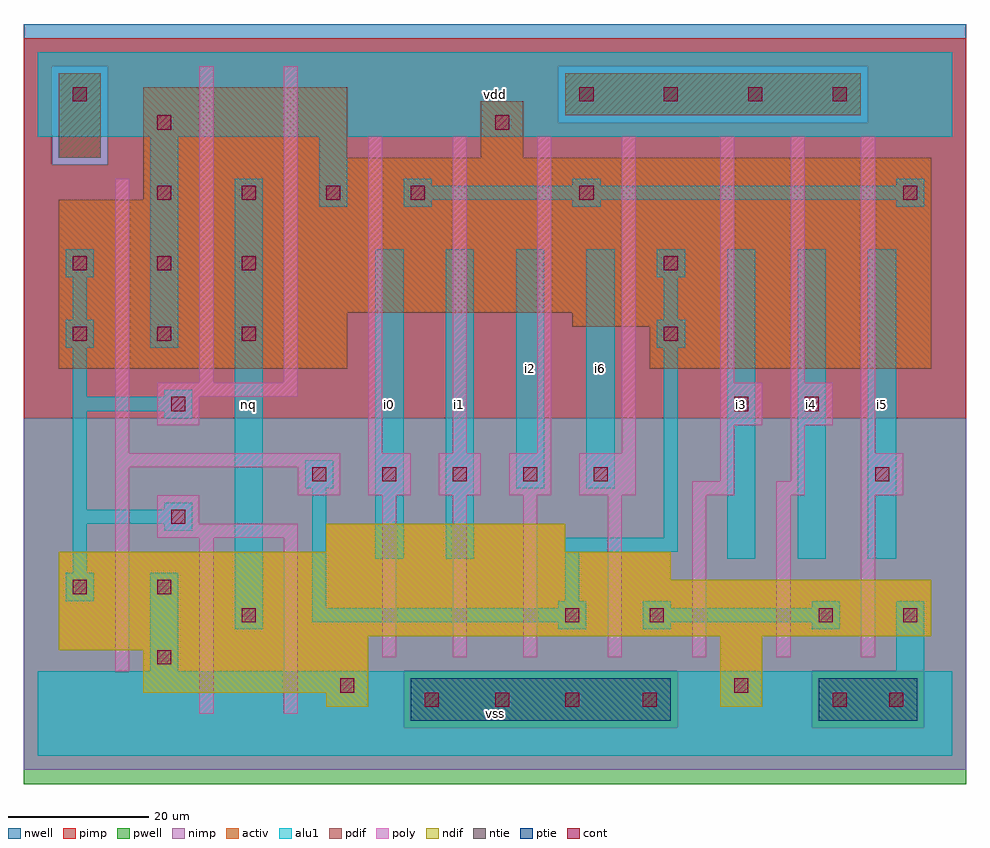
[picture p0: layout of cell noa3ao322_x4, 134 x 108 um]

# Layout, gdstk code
import gdstk
lib = gdstk.Library(unit=1e-6, precision=1e-09)
def R(c, l, rs):  # rectangles x0, y0, x1, y1
    for r in rs: c.add(gdstk.rectangle(r[:2], r[2:], *l))
def A(c, l, x, y, w, h, nx, ny, dx, dy):  # array of equal rectangles
    R(c, l, [(x+i*dx, y+j*dy, x+i*dx+w, y+j*dy+h) for i in range(nx) for j in range(ny)])
ndif = (3, 0)
pdif = (4, 0)
ntie = (5, 0)
ptie = (6, 0)
cont = (25, 0)
pwell = (41, 0)
nwell = (42, 0)
activ = (43, 0)
pimp = (44, 0)
nimp = (45, 0)
poly = (46, 0)
alu1 = (49, 0)

noa3ao322_x4 = lib.new_cell('noa3ao322_x4')
R(noa3ao322_x4, ndif, [(41,7,47,9), (97,7,103,17), (15,9,47,15), (3,15,47,17), (3,17,127,25), (3,25,90,29), (41,29,75,33)])
R(noa3ao322_x4, pdif, [(3,55,44,63), (87,55,127,61), (76,61,127,63), (3,63,127,79), (15,79,127,85), (15,85,44,95), (63,85,69,93)])
R(noa3ao322_x4, ntie, [(3,85,9,97), (75,91,117,97)])
R(noa3ao322_x4, ptie, [(53,5,90,11), (111,5,125,11)])
A(noa3ao322_x4, cont, 55, 7, 2, 2, 3, 1, 10, 0)
A(noa3ao322_x4, cont, 39, 39, 2, 2, 5, 1, 10, 0)
A(noa3ao322_x4, cont, 5, 59, 2, 2, 3, 2, 12, 10)
A(noa3ao322_x4, cont, 17, 79, 2, 2, 4, 1, 12, 0)
A(noa3ao322_x4, cont, 77, 93, 2, 2, 4, 1, 12, 0)
R(noa3ao322_x4, cont, [(86,7,88,9), (113,7,115,9), (121,7,123,9), (43,9,45,11), (99,9,101,11), (17,13,19,15), (29,19,31,21), (75,19,77,21), (87,19,89,21), (111,19,113,21), (123,19,125,21), (5,23,7,25), (17,23,19,25), (19,33,21,35), (119,39,121,41), (19,49,21,51), (99,49,101,51), (109,49,111,51), (89,59,91,61), (89,69,91,71), (77,79,79,81), (123,79,125,81), (17,89,19,91), (65,89,67,91), (5,93,7,95)])
R(noa3ao322_x4, pwell, [(-2,-4,132,48)])
R(noa3ao322_x4, nwell, [(-2,48,132,104)])
R(noa3ao322_x4, activ, [(53,5,90,11), (111,5,125,11), (41,7,47,9), (97,7,103,17), (15,9,47,15), (3,15,47,17), (3,17,127,25), (3,25,90,29), (41,29,75,33), (3,55,44,63), (87,55,127,61), (76,61,127,63), (3,63,127,79), (15,79,127,85), (3,85,9,97), (15,85,44,95), (63,85,69,93), (75,91,117,97)])
R(noa3ao322_x4, pimp, [(52,4,91,12), (110,4,126,12), (-2,48,132,84), (-2,84,2,98), (10,84,132,90), (10,90,74,98), (118,90,132,98), (-2,98,132,102)])
R(noa3ao322_x4, nimp, [(-2,-2,132,4), (-2,4,52,12), (91,4,110,12), (126,4,132,12), (-2,12,132,48), (2,84,10,98), (74,90,118,98)])
A(noa3ao322_x4, poly, 49, 14, 2, 23, 3, 1, 10, 0)
A(noa3ao322_x4, poly, 81, 14, 2, 23, 4, 1, 12, 0)
A(noa3ao322_x4, poly, 47, 37, 6, 6, 3, 1, 10, 0)
A(noa3ao322_x4, poly, 47, 43, 2, 45, 4, 1, 12, 0)
R(noa3ao322_x4, poly, [(23,6,25,31), (35,6,37,31), (11,12,13,41), (17,31,37,33), (17,33,23,37), (37,37,43,41), (77,37,85,43), (93,37,99,39), (105,37,109,39), (117,37,123,43), (97,39,99,47), (107,39,109,47), (11,41,43,43), (11,43,13,82), (117,43,119,88), (17,47,23,51), (97,47,103,53), (107,47,113,53), (17,51,37,53), (23,53,25,98), (35,53,37,98), (97,53,99,88), (107,53,109,88)])
A(noa3ao322_x4, alu1, 98, 28, 4, 44, 3, 1, 10, 0)
R(noa3ao322_x4, alu1, [(0,0,130,12), (16,12,20,26), (122,12,126,22), (28,18,32,82), (74,18,78,19), (86,18,90,19), (110,18,114,19), (39,19,78,21), (86,19,114,21), (39,21,41,38), (74,21,78,22), (86,21,90,22), (110,21,114,22), (4,22,8,26), (75,22,77,29), (5,26,7,33), (48,28,52,72), (58,28,62,72), (75,29,91,31), (89,31,91,58), (18,32,22,33), (5,33,22,35), (5,35,7,49), (18,35,22,36), (38,38,42,42), (68,38,72,72), (78,38,82,72), (18,48,22,49), (5,49,22,51), (5,51,7,58), (18,51,22,52), (4,58,8,62), (16,58,20,88), (88,58,92,62), (5,62,7,68), (89,62,91,68), (4,68,8,72), (88,68,92,72), (40,78,44,88), (52,78,56,79), (76,78,80,79), (122,78,126,79), (52,79,126,81), (52,81,56,82), (76,81,80,82), (122,81,126,82), (0,88,130,100)])
noa3ao322_x4.add(gdstk.Label('nq', (30,50), layer=49, texttype=0))
noa3ao322_x4.add(gdstk.Label('vss', (65,6), layer=49, texttype=0))
noa3ao322_x4.add(gdstk.Label('i0', (50,50), layer=49, texttype=0))
noa3ao322_x4.add(gdstk.Label('i2', (70,55), layer=49, texttype=0))
noa3ao322_x4.add(gdstk.Label('i1', (60,50), layer=49, texttype=0))
noa3ao322_x4.add(gdstk.Label('vdd', (65,94), layer=49, texttype=0))
noa3ao322_x4.add(gdstk.Label('i6', (80,55), layer=49, texttype=0))
noa3ao322_x4.add(gdstk.Label('i3', (100,50), layer=49, texttype=0))
noa3ao322_x4.add(gdstk.Label('i4', (110,50), layer=49, texttype=0))
noa3ao322_x4.add(gdstk.Label('i5', (120,50), layer=49, texttype=0))

lib.write_gds('noa3ao322_x4.gds')
